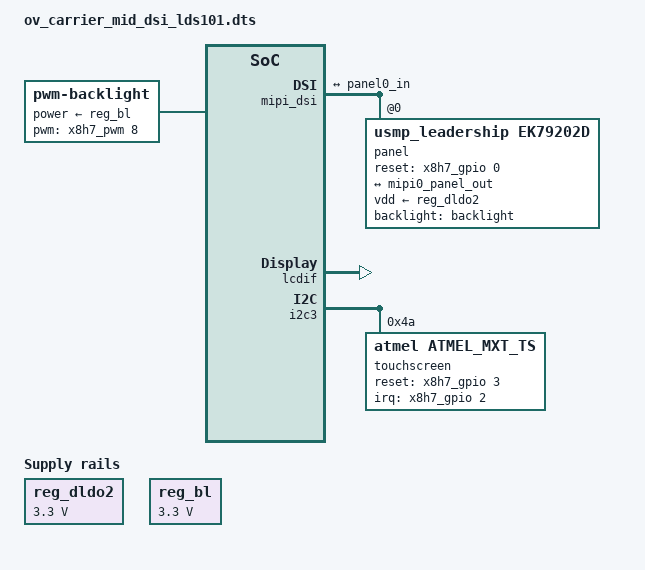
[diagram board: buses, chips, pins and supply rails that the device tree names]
/**
 * Portenta-X8 dtb overlay file
 * Arduino 2023
 * Enable display dsi panel and touch screen
 */

/dts-v1/;
/plugin/;

#include "imx8mm-pinfunc.h"
#include <dt-bindings/gpio/gpio.h>
#include <dt-bindings/interrupt-controller/arm-gic.h>

/ {
	fragment@0 {
		target-path = "/";
		__overlay__ {
			reg_dldo2: reg-dldo2 {
				compatible = "regulator-fixed";
				regulator-name = "mipi_panel_reg";
				regulator-min-microvolt = <3300000>;
				regulator-max-microvolt = <3300000>;
				regulator-always-on;
			};

			reg_bl: reg-bl {
				compatible = "regulator-fixed";
				regulator-name = "mipi_panel_backlight";
				regulator-min-microvolt = <3300000>;
				regulator-max-microvolt = <3300000>;
				regulator-always-on;
			};

			backlight: backlight-controller {
				compatible = "pwm-backlight";
				pwms = <&x8h7_pwm 8 100000 0>;
				power-supply = <&reg_bl>;
				brightness-levels = <0 10 20 30 40 50 60 70 80 90 100>;
				default-brightness-level = <0>;	/* => 90 */
			};
		};
	};

	fragment@1 {
		target = <&mipi_dsi>;
		__overlay__ {
			status = "okay";

			panel@0 {
				pinctrl-names = "default";
				compatible = "usmp_leadership,ek79202d","jadard,ek79202d";
				reg = <0>;
				vdd-supply = <&reg_dldo2>;
				reset-gpios = <&x8h7_gpio 0 GPIO_ACTIVE_HIGH>;
				backlight = <&backlight>;
				dsi-lanes = <4>;
				video-mode = <2>;	/* 0: burst mode
									 * 1: non-burst mode with sync event
									 * 2: non-burst mode with sync pulse
									 */
				status = "okay";

				port {
					panel0_in: endpoint {
						remote-endpoint = <&mipi0_panel_out>;
					};
				};
			};

			port@1 {
				mipi0_panel_out: endpoint {
					attach-bridge;
					remote-endpoint = <&panel0_in>;
				};
			};
		};
	};

	fragment@2 {
		target = <&lcdif>;
		__overlay__ {
			status = "okay";
		};
	};

	fragment@3 {
		target = <&i2c3>;
		__overlay__ {
			touchscreen@4a {
				pinctrl-names = "default";
				compatible = "atmel,atmel_mxt_ts";
				reg = <0x4a>;
				interrupt-parent = <&x8h7_gpio>;
				interrupts = <2 IRQ_TYPE_LEVEL_LOW>;
				reset-gpios = <&x8h7_gpio 3 GPIO_ACTIVE_HIGH>;
			};
		};
	};
};
